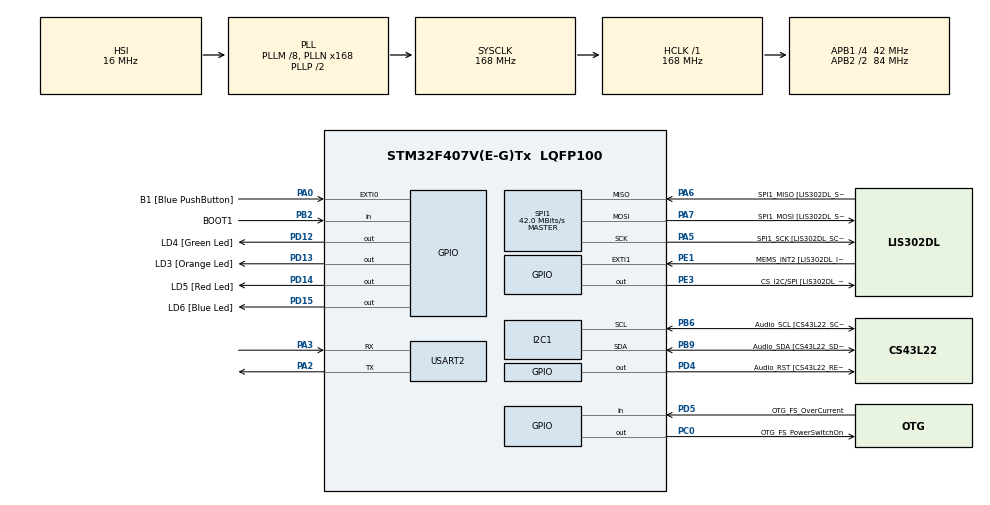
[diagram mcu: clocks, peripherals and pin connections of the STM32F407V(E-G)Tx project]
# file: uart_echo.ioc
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Mcu.Family=STM32F4
Mcu.Name=STM32F407V(E-G)Tx
Mcu.Package=LQFP100
NVIC.PriorityGroup=NVIC_PRIORITYGROUP_0
NVIC.USART2_IRQn=true\:0\:0\:false\:false\:true\:true
PA0-WKUP.GPIO_Label=B1 [Blue PushButton]
PA0-WKUP.Signal=GPXTI0
PA10.GPIO_Label=OTG_FS_ID
PA10.GPIO_Mode=GPIO_MODE_AF_PP
PA10.GPIO_PuPd=GPIO_NOPULL
PA10.GPIO_Speed=GPIO_SPEED_FREQ_LOW
PA10.Signal=USB_OTG_FS_ID
PA11.GPIO_Label=OTG_FS_DM
PA11.GPIO_Mode=GPIO_MODE_AF_PP
PA11.GPIO_PuPd=GPIO_NOPULL
PA11.GPIO_Speed=GPIO_SPEED_FREQ_LOW
PA11.Signal=USB_OTG_FS_DM
PA12.GPIO_Label=OTG_FS_DP
PA12.GPIO_Mode=GPIO_MODE_AF_PP
PA12.GPIO_PuPd=GPIO_NOPULL
PA12.GPIO_Speed=GPIO_SPEED_FREQ_LOW
PA12.Signal=USB_OTG_FS_DP
PA13.GPIO_Label=SWDIO
PA13.Signal=SYS_JTMS-SWDIO
PA14.GPIO_Label=SWCLK
PA14.Signal=SYS_JTCK-SWCLK
PA2.Mode=Asynchronous
PA2.Signal=USART2_TX
PA3.Mode=Asynchronous
PA3.Signal=USART2_RX
PA4.GPIO_Label=I2S3_WS [CS43L22_LRCK]
PA4.GPIO_Mode=GPIO_MODE_AF_PP
PA4.GPIO_PuPd=GPIO_NOPULL
PA4.GPIO_Speed=GPIO_SPEED_FREQ_LOW
PA4.Signal=I2S3_WS
PA5.GPIO_Label=SPI1_SCK [LIS302DL_SCL/SPC]
PA5.GPIO_Mode=GPIO_MODE_AF_PP
PA5.GPIO_PuPd=GPIO_NOPULL
PA5.GPIO_Speed=GPIO_SPEED_FREQ_LOW
PA5.Mode=Full_Duplex_Master
PA5.Signal=SPI1_SCK
PA6.GPIO_Label=SPI1_MISO [LIS302DL_SDO]
PA6.GPIO_Mode=GPIO_MODE_AF_PP
PA6.GPIO_PuPd=GPIO_NOPULL
PA6.GPIO_Speed=GPIO_SPEED_FREQ_LOW
PA6.Mode=Full_Duplex_Master
PA6.Signal=SPI1_MISO
PA7.GPIO_Label=SPI1_MOSI [LIS302DL_SDA/SDI/SDO]
PA7.GPIO_Mode=GPIO_MODE_AF_PP
PA7.GPIO_PuPd=GPIO_NOPULL
PA7.GPIO_Speed=GPIO_SPEED_FREQ_LOW
PA7.Mode=Full_Duplex_Master
PA7.Signal=SPI1_MOSI
PA9.GPIO_Label=VBUS_FS
PA9.GPIO_Mode=GPIO_MODE_INPUT
PA9.GPIO_PuPd=GPIO_NOPULL
PA9.Signal=USB_OTG_FS_VBUS
PB10.GPIO_Label=CLK_IN [MP45DT02_CLK]
PB10.GPIO_Mode=GPIO_MODE_AF_PP
PB10.GPIO_PuPd=GPIO_NOPULL
PB10.GPIO_Speed=GPIO_SPEED_FREQ_LOW
PB10.Signal=I2S2_CK
PB2.GPIO_Label=BOOT1
PB2.GPIO_Mode=GPIO_MODE_INPUT
PB2.GPIO_PuPd=GPIO_NOPULL
PB2.Signal=GPIO_Input
PB3.GPIO_Label=SWO
PB3.Signal=SYS_JTDO-SWO
PB6.GPIO_Label=Audio_SCL [CS43L22_SCL]
PB6.GPIO_Mode=GPIO_MODE_AF_OD
PB6.GPIO_PuPd=GPIO_NOPULL
PB6.GPIO_Speed=GPIO_SPEED_FREQ_LOW
PB6.Mode=I2C
PB6.Signal=I2C1_SCL
PB9.GPIO_Label=Audio_SDA [CS43L22_SDA]
PB9.GPIO_Mode=GPIO_MODE_AF_OD
PB9.GPIO_PuPd=GPIO_NOPULL
PB9.GPIO_Speed=GPIO_SPEED_FREQ_LOW
PB9.Mode=I2C
PB9.Signal=I2C1_SDA
PC0.GPIO_Label=OTG_FS_PowerSwitchOn
PC0.GPIO_PuPd=GPIO_NOPULL
PC0.GPIO_Speed=GPIO_SPEED_FREQ_LOW
PC0.PinState=GPIO_PIN_SET
PC0.Signal=GPIO_Output
PC10.GPIO_Label=I2S3_SCK [CS43L22_SCLK]
PC10.GPIO_Mode=GPIO_MODE_AF_PP
PC10.GPIO_PuPd=GPIO_NOPULL
PC10.GPIO_Speed=GPIO_SPEED_FREQ_LOW
PC10.Signal=I2S3_CK
PC12.GPIO_Label=I2S3_SD [CS43L22_SDIN]
PC12.GPIO_Mode=GPIO_MODE_AF_PP
PC12.GPIO_PuPd=GPIO_NOPULL
PC12.GPIO_Speed=GPIO_SPEED_FREQ_LOW
PC12.Signal=I2S3_SD
PC14-OSC32_IN.GPIO_Label=PC14-OSC32_IN
PC14-OSC32_IN.Signal=RCC_OSC32_IN
PC15-OSC32_OUT.GPIO_Label=PC15-OSC32_OUT
PC15-OSC32_OUT.Signal=RCC_OSC32_OUT
PC3.GPIO_Label=PDM_OUT [MP45DT02_DOUT]
PC3.GPIO_Mode=GPIO_MODE_AF_PP
PC3.GPIO_PuPd=GPIO_NOPULL
PC3.GPIO_Speed=GPIO_SPEED_FREQ_LOW
PC3.Signal=I2S2_SD
PC7.GPIO_Label=I2S3_MCK [CS43L22_MCLK]
PC7.GPIO_Mode=GPIO_MODE_AF_PP
PC7.GPIO_PuPd=GPIO_NOPULL
PC7.GPIO_Speed=GPIO_SPEED_FREQ_LOW
PC7.Signal=I2S3_MCK
PD12.GPIO_Label=LD4 [Green Led]
PD12.GPIO_PuPd=GPIO_NOPULL
PD12.GPIO_Speed=GPIO_SPEED_FREQ_LOW
PD12.Signal=GPIO_Output
PD13.GPIO_Label=LD3 [Orange Led]
PD13.GPIO_PuPd=GPIO_NOPULL
PD13.GPIO_Speed=GPIO_SPEED_FREQ_LOW
PD13.Signal=GPIO_Output
PD14.GPIO_Label=LD5 [Red Led]
PD14.GPIO_PuPd=GPIO_NOPULL
PD14.GPIO_Speed=GPIO_SPEED_FREQ_LOW
PD14.Signal=GPIO_Output
PD15.GPIO_Label=LD6 [Blue Led]
PD15.GPIO_PuPd=GPIO_NOPULL
PD15.GPIO_Speed=GPIO_SPEED_FREQ_LOW
PD15.Signal=GPIO_Output
PD4.GPIO_Label=Audio_RST [CS43L22_RESET]
PD4.GPIO_PuPd=GPIO_NOPULL
PD4.GPIO_Speed=GPIO_SPEED_FREQ_LOW
PD4.Signal=GPIO_Output
PD5.GPIO_Label=OTG_FS_OverCurrent
PD5.GPIO_Mode=GPIO_MODE_INPUT
PD5.GPIO_PuPd=GPIO_NOPULL
PD5.Signal=GPIO_Input
PE1.GPIO_Label=MEMS_INT2 [LIS302DL_INT2]
PE1.GPIO_ModeDefaultEXTI=GPIO_MODE_EVT_RISING
PE1.GPIO_PuPd=GPIO_NOPULL
PE1.Signal=GPXTI1
PE3.GPIO_Label=CS_I2C/SPI [LIS302DL_CS_I2C/SPI]
PE3.GPIO_PuPd=GPIO_NOPULL
PE3.GPIO_Speed=GPIO_SPEED_FREQ_LOW
PE3.Signal=GPIO_Output
PH0-OSC_IN.GPIO_Label=PH0-OSC_IN
PH0-OSC_IN.Signal=RCC_OSC_IN
PH1-OSC_OUT.GPIO_Label=PH1-OSC_OUT
PH1-OSC_OUT.Signal=RCC_OSC_OUT
ProjectManager.HeapSize=0x200
ProjectManager.StackSize=0x400
ProjectManager.TargetToolchain=SW4STM32
RCC.48MHZClocksFreq_Value=48000000
RCC.AHBFreq_Value=168000000
RCC.APB1CLKDivider=RCC_HCLK_DIV4
RCC.APB1Freq_Value=42000000
RCC.APB1TimFreq_Value=84000000
RCC.APB2CLKDivider=RCC_HCLK_DIV2
RCC.APB2Freq_Value=84000000
RCC.APB2TimFreq_Value=168000000
RCC.CortexFreq_Value=168000000
RCC.HCLKFreq_Value=168000000
RCC.HSE_VALUE=8000000
RCC.HSI_VALUE=16000000
RCC.LSE_VALUE=32768
RCC.PLLM=8
RCC.PLLN=168
RCC.PLLQ=7
RCC.SYSCLKFreq_VALUE=168000000
RCC.SYSCLKSource=RCC_SYSCLKSOURCE_PLLCLK
RCC.VCOOutputFreq_Value=336000000
SPI1.CalculateBaudRate=42.0 MBits/s
SPI1.Direction=SPI_DIRECTION_2LINES
SPI1.Mode=SPI_MODE_MASTER
SPI1.VirtualType=VM_MASTER
USART2.VirtualMode=VM_ASYNC
board=STM32F4DISCOVERY

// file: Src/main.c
/**
  ******************************************************************************
  * File Name          : main.c
  * Description        : Main program body
  ******************************************************************************
  ** This notice applies to any and all portions of this file
  * that are not between comment pairs USER CODE BEGIN and
  * USER CODE END. Other portions of this file, whether
  * inserted by the user or by software development tools
  * are owned by their respective copyright owners.
  *
  * COPYRIGHT(c) 2017 STMicroelectronics
  *
  * Redistribution and use in source and binary forms, with or without modification,
  * are permitted provided that the following conditions are met:
  *   1. Redistributions of source code must retain the above copyright notice,
  *      this list of conditions and the following disclaimer.
  *   2. Redistributions in binary form must reproduce the above copyright notice,
  *      this list of conditions and the following disclaimer in the documentation
  *      and/or other materials provided with the distribution.
  *   3. Neither the name of STMicroelectronics nor the names of its contributors
  *      may be used to endorse or promote products derived from this software
  *      without specific prior written permission.
  *
  * THIS SOFTWARE IS PROVIDED BY THE COPYRIGHT HOLDERS AND CONTRIBUTORS "AS IS"
  * AND ANY EXPRESS OR IMPLIED WARRANTIES, INCLUDING, BUT NOT LIMITED TO, THE
  * IMPLIED WARRANTIES OF MERCHANTABILITY AND FITNESS FOR A PARTICULAR PURPOSE ARE
  * DISCLAIMED. IN NO EVENT SHALL THE COPYRIGHT HOLDER OR CONTRIBUTORS BE LIABLE
  * FOR ANY DIRECT, INDIRECT, INCIDENTAL, SPECIAL, EXEMPLARY, OR CONSEQUENTIAL
  * DAMAGES (INCLUDING, BUT NOT LIMITED TO, PROCUREMENT OF SUBSTITUTE GOODS OR
  * SERVICES; LOSS OF USE, DATA, OR PROFITS; OR BUSINESS INTERRUPTION) HOWEVER
  * CAUSED AND ON ANY THEORY OF LIABILITY, WHETHER IN CONTRACT, STRICT LIABILITY,
  * OR TORT (INCLUDING NEGLIGENCE OR OTHERWISE) ARISING IN ANY WAY OUT OF THE USE
  * OF THIS SOFTWARE, EVEN IF ADVISED OF THE POSSIBILITY OF SUCH DAMAGE.
  *
  ******************************************************************************
  */

#include "main.h"
#include "stm32f4xx_hal.h"

I2C_HandleTypeDef hi2c1;

SPI_HandleTypeDef hspi1;

UART_HandleTypeDef huart2;

/* USER CODE BEGIN PV */
/* Private variables ---------------------------------------------------------*/
static uint8_t echo_char;
static uint8_t echo;
static uint32_t timeout;
/* USER CODE END PV */

void SystemClock_Config(void);
static void MX_GPIO_Init(void);
static void MX_USART2_UART_Init(void);
static void MX_I2C1_Init(void);
static void MX_SPI1_Init(void);

/* USER CODE BEGIN PFP */
/* Private function prototypes -----------------------------------------------*/

/* USER CODE END PFP */

/* USER CODE BEGIN 0 */
void HAL_UART_RxCpltCallback(UART_HandleTypeDef *huart){
	HAL_StatusTypeDef status;
	status = HAL_UART_Receive_IT(huart, &echo_char, 1);
	if (HAL_OK == status) {
		echo = 1;
	}
	return;
}
/* USER CODE END 0 */

int main(void)
{

  /* USER CODE BEGIN 1 */
	echo = 0;
	echo_char = 0;
	timeout = 50000;
  /* USER CODE END 1 */

  /* MCU Configuration----------------------------------------------------------*/

  /* Reset of all peripherals, Initializes the Flash interface and the Systick. */
  HAL_Init();

  /* Configure the system clock */
  SystemClock_Config();

  /* Initialize all configured peripherals */
  MX_GPIO_Init();
  MX_USART2_UART_Init();
  MX_I2C1_Init();
  MX_SPI1_Init();

  /* Infinite loop */
  /* USER CODE BEGIN WHILE */

  HAL_UART_Receive_IT(&huart2, &echo_char, 1);
  while (1)
  {
  /* USER CODE END WHILE */

  /* USER CODE BEGIN 3 */

	  if (echo){
		  HAL_UART_Transmit_IT(&huart2, &echo_char, 1);
		  echo = 0;
	  }
  }
  /* USER CODE END 3 */

}

/** System Clock Configuration
*/
void SystemClock_Config(void)
{

  RCC_OscInitTypeDef RCC_OscInitStruct;
  RCC_ClkInitTypeDef RCC_ClkInitStruct;

    /**Configure the main internal regulator output voltage
    */
  __HAL_RCC_PWR_CLK_ENABLE();

  __HAL_PWR_VOLTAGESCALING_CONFIG(PWR_REGULATOR_VOLTAGE_SCALE1);

    /**Initializes the CPU, AHB and APB busses clocks
    */
  RCC_OscInitStruct.OscillatorType = RCC_OSCILLATORTYPE_HSI;
  RCC_OscInitStruct.HSIState = RCC_HSI_ON;
  RCC_OscInitStruct.HSICalibrationValue = 16;
  RCC_OscInitStruct.PLL.PLLState = RCC_PLL_ON;
  RCC_OscInitStruct.PLL.PLLSource = RCC_PLLSOURCE_HSI;
  RCC_OscInitStruct.PLL.PLLM = 8;
  RCC_OscInitStruct.PLL.PLLN = 168;
  RCC_OscInitStruct.PLL.PLLP = RCC_PLLP_DIV2;
  RCC_OscInitStruct.PLL.PLLQ = 7;
  if (HAL_RCC_OscConfig(&RCC_OscInitStruct) != HAL_OK)
  {
    _Error_Handler(__FILE__, __LINE__);
  }

    /**Initializes the CPU, AHB and APB busses clocks
    */
  RCC_ClkInitStruct.ClockType = RCC_CLOCKTYPE_HCLK|RCC_CLOCKTYPE_SYSCLK
                              |RCC_CLOCKTYPE_PCLK1|RCC_CLOCKTYPE_PCLK2;
  RCC_ClkInitStruct.SYSCLKSource = RCC_SYSCLKSOURCE_PLLCLK;
  RCC_ClkInitStruct.AHBCLKDivider = RCC_SYSCLK_DIV1;
  RCC_ClkInitStruct.APB1CLKDivider = RCC_HCLK_DIV4;
  RCC_ClkInitStruct.APB2CLKDivider = RCC_HCLK_DIV2;

  if (HAL_RCC_ClockConfig(&RCC_ClkInitStruct, FLASH_LATENCY_5) != HAL_OK)
  {
    _Error_Handler(__FILE__, __LINE__);
  }

    /**Configure the Systick interrupt time
    */
  HAL_SYSTICK_Config(HAL_RCC_GetHCLKFreq()/1000);

    /**Configure the Systick
    */
  HAL_SYSTICK_CLKSourceConfig(SYSTICK_CLKSOURCE_HCLK);

  /* SysTick_IRQn interrupt configuration */
  HAL_NVIC_SetPriority(SysTick_IRQn, 0, 0);
}

/* I2C1 init function */
static void MX_I2C1_Init(void)
{

  hi2c1.Instance = I2C1;
  hi2c1.Init.ClockSpeed = 100000;
  hi2c1.Init.DutyCycle = I2C_DUTYCYCLE_2;
  hi2c1.Init.OwnAddress1 = 0;
  hi2c1.Init.AddressingMode = I2C_ADDRESSINGMODE_7BIT;
  hi2c1.Init.DualAddressMode = I2C_DUALADDRESS_DISABLE;
  hi2c1.Init.OwnAddress2 = 0;
  hi2c1.Init.GeneralCallMode = I2C_GENERALCALL_DISABLE;
  hi2c1.Init.NoStretchMode = I2C_NOSTRETCH_DISABLE;
  if (HAL_I2C_Init(&hi2c1) != HAL_OK)
  {
    _Error_Handler(__FILE__, __LINE__);
  }

}

/* SPI1 init function */
static void MX_SPI1_Init(void)
{

  /* SPI1 parameter configuration*/
  hspi1.Instance = SPI1;
  hspi1.Init.Mode = SPI_MODE_MASTER;
  hspi1.Init.Direction = SPI_DIRECTION_2LINES;
  hspi1.Init.DataSize = SPI_DATASIZE_8BIT;
  hspi1.Init.CLKPolarity = SPI_POLARITY_LOW;
  hspi1.Init.CLKPhase = SPI_PHASE_1EDGE;
  hspi1.Init.NSS = SPI_NSS_SOFT;
  hspi1.Init.BaudRatePrescaler = SPI_BAUDRATEPRESCALER_2;
  hspi1.Init.FirstBit = SPI_FIRSTBIT_MSB;
  hspi1.Init.TIMode = SPI_TIMODE_DISABLE;
  hspi1.Init.CRCCalculation = SPI_CRCCALCULATION_DISABLE;
  hspi1.Init.CRCPolynomial = 10;
  if (HAL_SPI_Init(&hspi1) != HAL_OK)
  {
    _Error_Handler(__FILE__, __LINE__);
  }

}

/* USART2 init function */
static void MX_USART2_UART_Init(void)
{

  huart2.Instance = USART2;
  huart2.Init.BaudRate = 115200;
  huart2.Init.WordLength = UART_WORDLENGTH_8B;
  huart2.Init.StopBits = UART_STOPBITS_1;
  huart2.Init.Parity = UART_PARITY_NONE;
  huart2.Init.Mode = UART_MODE_TX_RX;
  huart2.Init.HwFlowCtl = UART_HWCONTROL_NONE;
  huart2.Init.OverSampling = UART_OVERSAMPLING_16;
  if (HAL_UART_Init(&huart2) != HAL_OK)
  {
    _Error_Handler(__FILE__, __LINE__);
  }

}

/** Configure pins as
        * Analog
        * Input
        * Output
        * EVENT_OUT
        * EXTI
     PC3   ------> I2S2_SD
     PA4   ------> I2S3_WS
     PB10   ------> I2S2_CK
     PC7   ------> I2S3_MCK
     PA9   ------> USB_OTG_FS_VBUS
     PA10   ------> USB_OTG_FS_ID
     PA11   ------> USB_OTG_FS_DM
     PA12   ------> USB_OTG_FS_DP
     PC10   ------> I2S3_CK
     PC12   ------> I2S3_SD
*/
static void MX_GPIO_Init(void)
{

  GPIO_InitTypeDef GPIO_InitStruct;

  /* GPIO Ports Clock Enable */
  __HAL_RCC_GPIOE_CLK_ENABLE();
  __HAL_RCC_GPIOC_CLK_ENABLE();
  __HAL_RCC_GPIOH_CLK_ENABLE();
  __HAL_RCC_GPIOA_CLK_ENABLE();
  __HAL_RCC_GPIOB_CLK_ENABLE();
  __HAL_RCC_GPIOD_CLK_ENABLE();

  /*Configure GPIO pin Output Level */
  HAL_GPIO_WritePin(CS_I2C_SPI_GPIO_Port, CS_I2C_SPI_Pin, GPIO_PIN_RESET);

  /*Configure GPIO pin Output Level */
  HAL_GPIO_WritePin(OTG_FS_PowerSwitchOn_GPIO_Port, OTG_FS_PowerSwitchOn_Pin, GPIO_PIN_SET);

  /*Configure GPIO pin Output Level */
  HAL_GPIO_WritePin(GPIOD, LD4_Pin|LD3_Pin|LD5_Pin|LD6_Pin
                          |Audio_RST_Pin, GPIO_PIN_RESET);

  /*Configure GPIO pin : CS_I2C_SPI_Pin */
  GPIO_InitStruct.Pin = CS_I2C_SPI_Pin;
  GPIO_InitStruct.Mode = GPIO_MODE_OUTPUT_PP;
  GPIO_InitStruct.Pull = GPIO_NOPULL;
  GPIO_InitStruct.Speed = GPIO_SPEED_FREQ_LOW;
  HAL_GPIO_Init(CS_I2C_SPI_GPIO_Port, &GPIO_InitStruct);

  /*Configure GPIO pin : OTG_FS_PowerSwitchOn_Pin */
  GPIO_InitStruct.Pin = OTG_FS_PowerSwitchOn_Pin;
  GPIO_InitStruct.Mode = GPIO_MODE_OUTPUT_PP;
  GPIO_InitStruct.Pull = GPIO_NOPULL;
  GPIO_InitStruct.Speed = GPIO_SPEED_FREQ_LOW;
  HAL_GPIO_Init(OTG_FS_PowerSwitchOn_GPIO_Port, &GPIO_InitStruct);

  /*Configure GPIO pin : PDM_OUT_Pin */
  GPIO_InitStruct.Pin = PDM_OUT_Pin;
  GPIO_InitStruct.Mode = GPIO_MODE_AF_PP;
  GPIO_InitStruct.Pull = GPIO_NOPULL;
  GPIO_InitStruct.Speed = GPIO_SPEED_FREQ_LOW;
  GPIO_InitStruct.Alternate = GPIO_AF5_SPI2;
  HAL_GPIO_Init(PDM_OUT_GPIO_Port, &GPIO_InitStruct);

  /*Configure GPIO pin : B1_Pin */
  GPIO_InitStruct.Pin = B1_Pin;
  GPIO_InitStruct.Mode = GPIO_MODE_IT_RISING;
  GPIO_InitStruct.Pull = GPIO_NOPULL;
  HAL_GPIO_Init(B1_GPIO_Port, &GPIO_InitStruct);

  /*Configure GPIO pin : I2S3_WS_Pin */
  GPIO_InitStruct.Pin = I2S3_WS_Pin;
  GPIO_InitStruct.Mode = GPIO_MODE_AF_PP;
  GPIO_InitStruct.Pull = GPIO_NOPULL;
  GPIO_InitStruct.Speed = GPIO_SPEED_FREQ_LOW;
  GPIO_InitStruct.Alternate = GPIO_AF6_SPI3;
  HAL_GPIO_Init(I2S3_WS_GPIO_Port, &GPIO_InitStruct);

  /*Configure GPIO pin : BOOT1_Pin */
  GPIO_InitStruct.Pin = BOOT1_Pin;
  GPIO_InitStruct.Mode = GPIO_MODE_INPUT;
  GPIO_InitStruct.Pull = GPIO_NOPULL;
  HAL_GPIO_Init(BOOT1_GPIO_Port, &GPIO_InitStruct);

  /*Configure GPIO pin : CLK_IN_Pin */
  GPIO_InitStruct.Pin = CLK_IN_Pin;
  GPIO_InitStruct.Mode = GPIO_MODE_AF_PP;
  GPIO_InitStruct.Pull = GPIO_NOPULL;
  GPIO_InitStruct.Speed = GPIO_SPEED_FREQ_LOW;
  GPIO_InitStruct.Alternate = GPIO_AF5_SPI2;
  HAL_GPIO_Init(CLK_IN_GPIO_Port, &GPIO_InitStruct);

  /*Configure GPIO pins : LD4_Pin LD3_Pin LD5_Pin LD6_Pin
                           Audio_RST_Pin */
  GPIO_InitStruct.Pin = LD4_Pin|LD3_Pin|LD5_Pin|LD6_Pin
                          |Audio_RST_Pin;
  GPIO_InitStruct.Mode = GPIO_MODE_OUTPUT_PP;
  GPIO_InitStruct.Pull = GPIO_NOPULL;
  GPIO_InitStruct.Speed = GPIO_SPEED_FREQ_LOW;
  HAL_GPIO_Init(GPIOD, &GPIO_InitStruct);

  /*Configure GPIO pins : I2S3_MCK_Pin I2S3_SCK_Pin I2S3_SD_Pin */
  GPIO_InitStruct.Pin = I2S3_MCK_Pin|I2S3_SCK_Pin|I2S3_SD_Pin;
  GPIO_InitStruct.Mode = GPIO_MODE_AF_PP;
  GPIO_InitStruct.Pull = GPIO_NOPULL;
  GPIO_InitStruct.Speed = GPIO_SPEED_FREQ_LOW;
  GPIO_InitStruct.Alternate = GPIO_AF6_SPI3;
  HAL_GPIO_Init(GPIOC, &GPIO_InitStruct);

  /*Configure GPIO pin : VBUS_FS_Pin */
  GPIO_InitStruct.Pin = VBUS_FS_Pin;
  GPIO_InitStruct.Mode = GPIO_MODE_INPUT;
  GPIO_InitStruct.Pull = GPIO_NOPULL;
  HAL_GPIO_Init(VBUS_FS_GPIO_Port, &GPIO_InitStruct);

  /*Configure GPIO pins : OTG_FS_ID_Pin OTG_FS_DM_Pin OTG_FS_DP_Pin */
  GPIO_InitStruct.Pin = OTG_FS_ID_Pin|OTG_FS_DM_Pin|OTG_FS_DP_Pin;
  GPIO_InitStruct.Mode = GPIO_MODE_AF_PP;
  GPIO_InitStruct.Pull = GPIO_NOPULL;
  GPIO_InitStruct.Speed = GPIO_SPEED_FREQ_LOW;
  GPIO_InitStruct.Alternate = GPIO_AF10_OTG_FS;
  HAL_GPIO_Init(GPIOA, &GPIO_InitStruct);

  /*Configure GPIO pin : OTG_FS_OverCurrent_Pin */
  GPIO_InitStruct.Pin = OTG_FS_OverCurrent_Pin;
  GPIO_InitStruct.Mode = GPIO_MODE_INPUT;
  GPIO_InitStruct.Pull = GPIO_NOPULL;
  HAL_GPIO_Init(OTG_FS_OverCurrent_GPIO_Port, &GPIO_InitStruct);

  /*Configure GPIO pin : MEMS_INT2_Pin */
  GPIO_InitStruct.Pin = MEMS_INT2_Pin;
  GPIO_InitStruct.Mode = GPIO_MODE_EVT_RISING;
  GPIO_InitStruct.Pull = GPIO_NOPULL;
  HAL_GPIO_Init(MEMS_INT2_GPIO_Port, &GPIO_InitStruct);

}

void _Error_Handler(char * file, int line)
{
  while(1)
  {
  }
}

/************************ (C) COPYRIGHT STMicroelectronics *****END OF FILE****/
